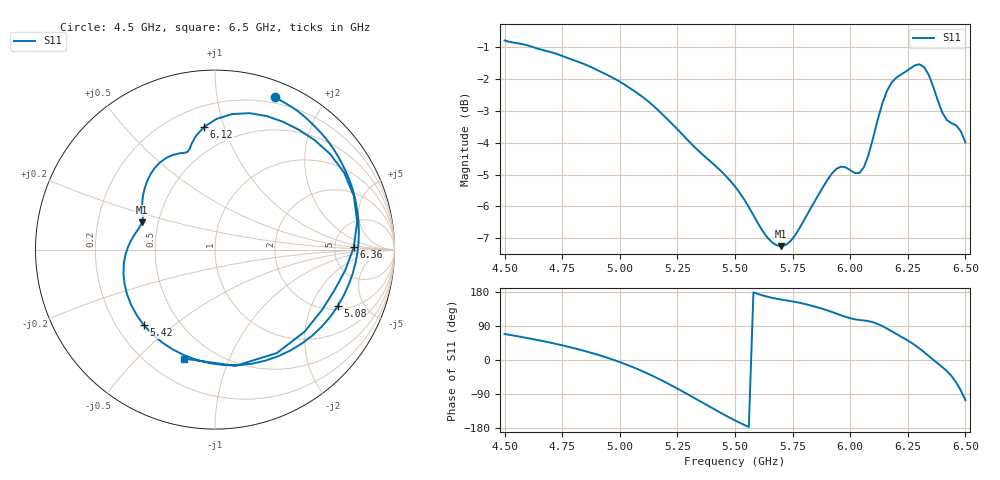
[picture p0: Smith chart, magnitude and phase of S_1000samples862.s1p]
! TOUCHSTONE file generated by CST MICROWAVE STUDIO
! Date and time: Sat Oct 29 15:24:58 2022
! Project name: L.cst
! Parameters = {Di=1.27; Epsilon_r=1.56; InnerDiameter=1.27; Length=2; Lf=10; Lg=60; OuterConductorThickness=0.2921; OuterDiameter=3.6; Wf=3; Wp=41.2; de=1.5; df=6.8; g=0.8; gx=3.2858; gy=0.991677; h=2.34; hf=1.524; px=11.0878; py=12.2833; w=9.7; wx=7.80199; wy=11.2916}
! Header version: 2018
! Port assignment regex: !\s*Touchstone port\s*([0-9]+)\s*=\s*(CST MWS port|CST DS port)\s*([0-9]+|Zmin|Zmax)\s*\(\"(.*)\"\)(\s*mode\s*([0-9]+))?.*
! Touchstone port assignment:
! Touchstone port 1 = CST MWS port 1 ("")
# GHz S DB R 50
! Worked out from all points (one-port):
!   101 points, 4.5 GHz to 6.5 GHz, reference 50 ohm
!   lowest |S11| = -7.2 dB at 5.7 GHz (marker M1), VSWR 2.54, Z = 20.3 + j7.56 ohm
!   |S11| at or under -10 dB: nowhere
!   S11 on the Smith chart (normalised r, x): 4.5 GHz: 0.14, +1.46; 5.08 GHz: 2.17, -3.16; 5.42 GHz: 0.31, -0.40; 6.12 GHz: 0.33, +0.86; 6.36 GHz: 7.79, +0.48; 6.5 GHz: 0.34, -0.70
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4.5  -0.79 68.5
4.62  -1.00 55.4
4.76  -1.31 37.3
4.9  -1.72 14.6
5  -2.09 -5.5
5.08  -2.47 -24.7
5.18  -3.08 -53.2
5.26  -3.65 -78.8
5.34  -4.24 -105.9
5.42  -4.76 -133.2
5.5  -5.37 -159.4
5.6  -6.53 174.1
5.7  -7.24 159.6
5.76  -6.91 153.4
5.9  -5.18 131.1
6  -4.86 110.2
6.06  -4.76 104.2
6.12  -3.26 95.0
6.18  -2.11 75.8
6.22  -1.87 61.9
6.26  -1.67 47.7
6.32  -1.63 21.1
6.36  -2.23 0.9
6.4  -3.06 -18.7
6.44  -3.39 -42.5
6.46  -3.46 -59.1
6.48  -3.64 -80.1
6.5  -3.99 -105.9
